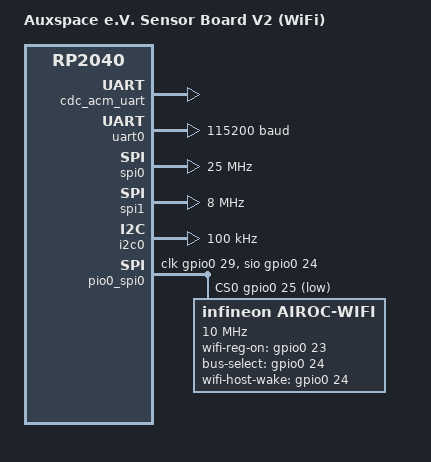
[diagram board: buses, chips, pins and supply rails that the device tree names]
/*
 * Copyright (c) 2021 Yonatan Schachter
 * Copyright (c) 2023 Dave Rensberger - Beechwoods Software
 * Copyright (c) 2026 Auxspace e.V.
 *
 * SPDX-License-Identifier: Apache-2.0
 */

/dts-v1/;

#include <raspberrypi/rpi_pico/rp2040.dtsi>
#include <raspberrypi/partitions_2M_sysbuild.dtsi>
#include "sensor_board_v2_rp2040-pinctrl.dtsi"
#include <zephyr/dt-bindings/i2c/i2c.h>
#include <zephyr/dt-bindings/sensor/lsm6dso.h>
#include <freq.h>

/ {
	model = "Auxspace e.V. Sensor Board V2 (WiFi)";
	compatible = "auxspaceev,sensor-board-v2";

	chosen {
		zephyr,sram = &sram0;
		zephyr,flash = &flash0;
		zephyr,flash-controller = &ssi;
		zephyr,console = &cdc_acm_uart;
		zephyr,shell-uart = &cdc_acm_uart;
		zephyr,code-partition = &slot0_partition;
	};

	aliases {
		watchdog0 = &wdt0;
	};
};

&flash0 {
	reg = <0x10000000 DT_SIZE_M(2)>;
};

zephyr_udc0: &usbd {
	cdc_acm_uart: cdc_acm_uart {
		compatible = "zephyr,cdc-acm-uart";
	};
};

&uart0 {
	current-speed = <115200>;
	pinctrl-0 = <&uart0_default>;
	pinctrl-names = "default";
};

&spi0 {
	clock-frequency = <DT_FREQ_M(25)>;
	cs-gpios = <&gpio0 17 GPIO_ACTIVE_LOW>;
	pinctrl-0 = <&spi0_default>;
	pinctrl-names = "default";

	sdhc0: sdhc@0 {
		compatible = "zephyr,sdhc-spi-slot";
		reg = <0>;
		status = "disabled";

		mmc0: mmc {
			compatible = "zephyr,sdmmc-disk";
			disk-name = "MMC";
			status = "disabled";
		};

		spi-max-frequency = <25000000>;
	};
};

&spi1 {
	clock-frequency = <DT_FREQ_M(8)>;
	cs-gpios = <&gpio0 13 GPIO_ACTIVE_LOW>;
	pinctrl-0 = <&spi1_default>;
	pinctrl-names = "default";
};

&i2c0 {
	clock-frequency = <I2C_BITRATE_STANDARD>;
	pinctrl-0 = <&i2c0_default>;
	pinctrl-names = "default";

	lsm6dso32_0: lsm6dso32@6b {
		compatible = "st,lsm6dso32";
		reg = <0x6b>;
		status = "disabled";
	};

	ms5607_0: ms5607@77 {
		compatible = "meas,ms5607";
		reg = <0x77>;
		status = "disabled";
	};
};

/* The CYW43439 WiFi/Bluetooth module is connected to the RP2040 via a PIO-SPI
 * bus on GPIO 23/24/25/29.  None of these pins are used by the sensor board's
 * peripherals, so they are free for the on-module radio.
 */
&pinctrl {
	pio0_spi0_default: pio0_spi0_default {
		/* gpio 25 is used for chip select, not assigned to the PIO */
		group1 {
			pinmux = <PIO0_P29>;
		};
	};

	airoc_wifi_default: airoc_wifi_default {
		/* Control of GPIO24 is done through the WiFi driver */
		group1 {
			pinmux = <PIO0_P24>;
			input-enable;
		};
	};

	airoc_wifi_host_wake: airoc_wifi_host_wake {
		/* Assign GPIO24 to SIO (GPIO) for use as an interrupt source */
		group1 {
			pinmux = <GPIO_P24>;
			input-enable;
		};
	};
};

&pio0 {
	status = "okay";

	pio0_spi0: pio0_spi0 {
		compatible = "raspberrypi,pico-spi-pio";
		clocks = <&clocks RPI_PICO_CLKID_CLK_SYS>;
		#address-cells = <1>;
		#size-cells = <0>;
		cs-gpios = <&gpio0 25 GPIO_ACTIVE_LOW>;
		clk-gpios = <&gpio0 29 GPIO_ACTIVE_HIGH>;
		sio-gpios = <&gpio0 24 GPIO_ACTIVE_HIGH>;
		pinctrl-0 = <&pio0_spi0_default>;
		pinctrl-names = "default";
		status = "okay";

		airoc-wifi@0 {
			compatible = "infineon,airoc-wifi";
			reg = <0>;
			wifi-reg-on-gpios = <&gpio0 23 GPIO_ACTIVE_HIGH>;
			bus-select-gpios = <&gpio0 24 GPIO_ACTIVE_HIGH>;
			wifi-host-wake-gpios = <&gpio0 24 GPIO_ACTIVE_HIGH>;
			spi-max-frequency = <10000000>;
			spi-half-duplex;
			spi-data-irq-shared;
			pinctrl-0 = <&airoc_wifi_default>;
			pinctrl-1 = <&airoc_wifi_host_wake>;
			pinctrl-names = "default", "host_wake";
			status = "okay";

			cyw43_gpio: gpio {
				compatible = "infineon,cyw43-gpio";
				gpio-controller;
				#gpio-cells = <2>;
				ngpios = <3>;
			};
		};
	};
};
